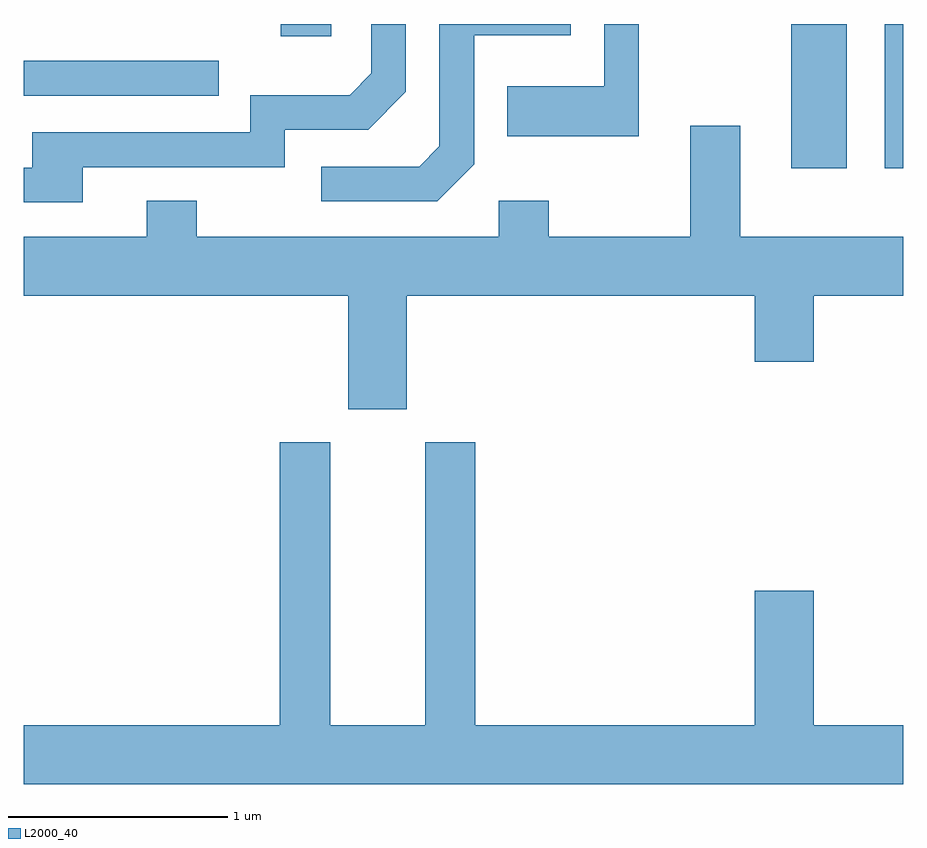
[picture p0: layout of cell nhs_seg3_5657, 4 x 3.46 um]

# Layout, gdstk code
import gdstk
lib = gdstk.Library(unit=1e-6, precision=1e-09)
def R(c, l, rs):  # rectangles x0, y0, x1, y1
    for r in rs: c.add(gdstk.rectangle(r[:2], r[2:], *l))
def P(c, l, *ps):  # polygons
    for p in ps: c.add(gdstk.Polygon(p, *l))
L2000_40 = (2000, 40)

nhs_seg3_5657 = lib.new_cell('nhs_seg3_5657')
R(nhs_seg3_5657, L2000_40, [(355.101,1153.236,355.354,1153.892), (355.526,1153.236,355.611,1153.892), (351.611,1153.566,352.498,1153.724)])
P(nhs_seg3_5657, L2000_40, [(353.009,1153.892),(351.611,1153.892),(351.611,1153.891),(352.781,1153.891),(352.781,1153.836),(353.009,1153.836)],
  [(353.659,1153.254),(353.659,1153.841),(354.099,1153.841),(354.099,1153.892),(353.501,1153.892),(353.501,1153.337),(353.409,1153.244),(352.963,1153.244),(352.963,1153.086),(353.492,1153.086)],
  [(351.879,1153.241),(352.799,1153.241),(352.799,1153.411),(353.177,1153.411),(353.349,1153.584),(353.349,1153.892),(353.191,1153.892),(353.191,1153.667),(353.094,1153.569),(352.641,1153.569),(352.641,1153.399),(351.651,1153.399),(351.651,1153.239),(351.611,1153.239),(351.611,1153.081),(351.879,1153.081)],
  [(354.409,1153.892),(354.251,1153.892),(354.251,1153.609),(353.811,1153.609),(353.811,1153.381),(354.409,1153.381)],
  [(353.354,1152.656),(354.936,1152.656),(354.936,1152.356),(355.204,1152.356),(355.204,1152.656),(355.611,1152.656),(355.611,1152.924),(354.869,1152.924),(354.869,1153.429),(354.641,1153.429),(354.641,1152.924),(353.999,1152.924),(353.999,1153.089),(353.771,1153.089),(353.771,1152.924),(352.399,1152.924),(352.399,1153.089),(352.171,1153.089),(352.171,1152.924),(351.611,1152.924),(351.611,1152.656),(353.086,1152.656),(353.086,1152.141),(353.354,1152.141)],
  [(355.611,1150.704),(355.204,1150.704),(355.204,1151.314),(354.936,1151.314),(354.936,1150.704),(353.664,1150.704),(353.664,1151.989),(353.436,1151.989),(353.436,1150.704),(353.004,1150.704),(353.004,1151.989),(352.776,1151.989),(352.776,1150.704),(351.611,1150.704),(351.611,1150.436),(355.611,1150.436)])

lib.write_gds('nhs_seg3_5657.gds')
